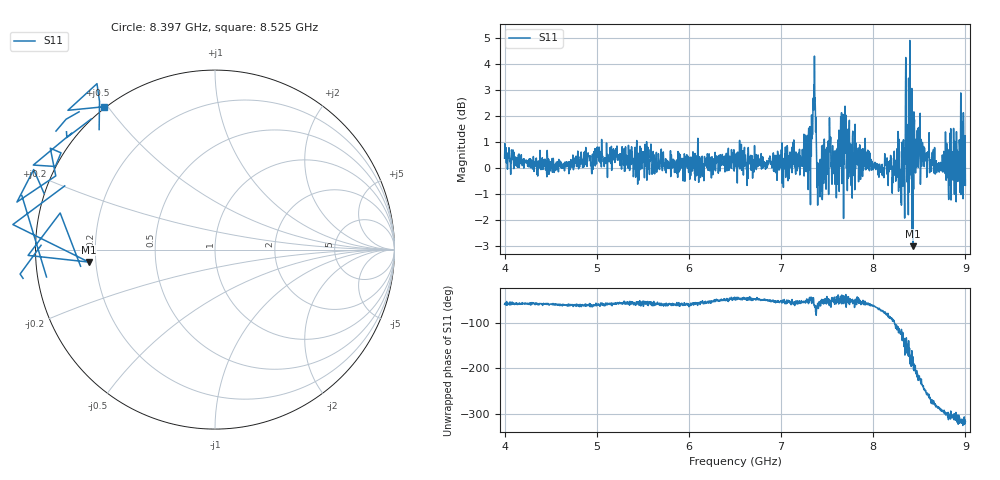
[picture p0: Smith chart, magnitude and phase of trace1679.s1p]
! Created with skrf 1.8.0 (http://scikit-rf.org).
# Hz S RI R 50.0
!freq ReS11 ImS11
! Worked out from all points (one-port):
!   1601 points, 4 GHz to 9 GHz, reference 50 ohm
!   lowest |S11| = -3.0 dB at 8.431 GHz (marker M1), VSWR 5.81, Z = 8.62 - j2.4 ohm
!   |S11| at or under -10 dB: nowhere
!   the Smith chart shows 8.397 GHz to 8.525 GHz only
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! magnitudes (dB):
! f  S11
! 4 GHz  0.4
! 4.625 GHz  0.0
! 5.25 GHz  0.2
! 5.875 GHz  0.1
! 6.5 GHz  0.2
! 7.038 GHz  0.0
! 7.125 GHz  0.6
! 7.297 GHz  1.2
! 7.356 GHz  3.2
! 7.412 GHz  0.1
! 7.516 GHz  -1.0
! 7.575 GHz  0.5
! 7.669 GHz  0.4
! 7.75 GHz  -0.3
! 8.228 GHz  0.6
! 8.259 GHz  0.7
! 8.316 GHz  0.2
! 8.334 GHz  0.3
! 8.356 GHz  3.0
! 8.375 GHz  0.2
! 8.412 GHz  1.0
! 8.431 GHz  -3.0
! 8.447 GHz  1.9
! 8.459 GHz  -0.2
! 8.497 GHz  1.6
! 8.806 GHz  -0.3
! 8.959 GHz  1.8
! 9 GHz  -0.7
